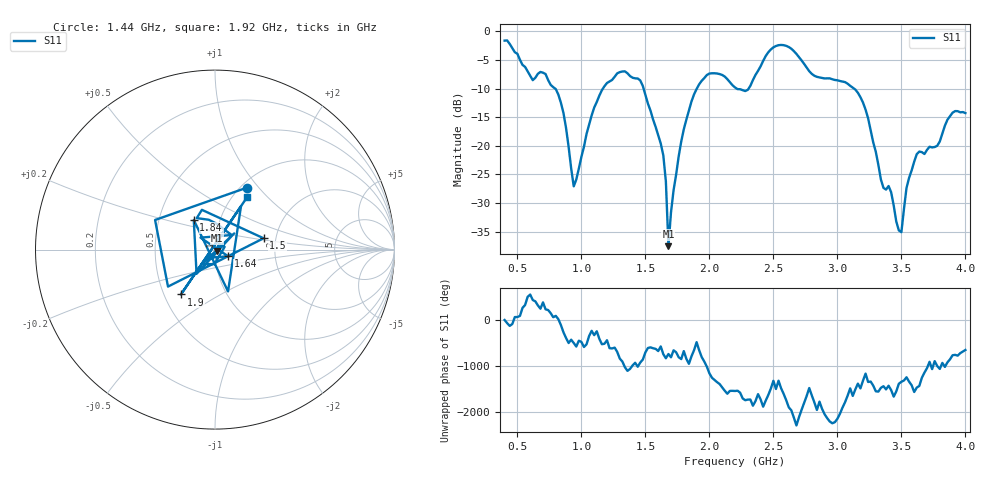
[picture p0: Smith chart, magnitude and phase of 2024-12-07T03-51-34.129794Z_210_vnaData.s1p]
!Created with skrf (http://scikit-rf.org).
# Hz S RI R 50.0
!freq ReS11 ImS11
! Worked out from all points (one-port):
!   181 points, 400 MHz to 4 GHz, reference 50 ohm
!   lowest |S11| = -37.5 dB at 1.68 GHz (marker M1), VSWR 1.03, Z = 51.2 - j0.524 ohm
!   |S11| at or under -10 dB: 794.9 MHz to 1.168 GHz (373.2 MHz wide, 38 % of centre); 1.486 GHz to 1.902 GHz (416 MHz wide, 24.6 % of centre); 3.13 GHz to end of sweep (the widest 3 of 4)
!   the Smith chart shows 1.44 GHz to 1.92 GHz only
!   S11 on the Smith chart (normalised r, x): 1.44 GHz: 1.07, +0.87; 1.5 GHz: 1.72, +0.24; 1.64 GHz: 1.16, -0.09; 1.84 GHz: 0.75, +0.26; 1.9 GHz: 0.61, -0.34; 1.92 GHz: 1.16, +0.78
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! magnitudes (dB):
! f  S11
! 400 MHz  -1.6
! 620 MHz  -8.5
! 720 MHz  -7.5
! 860 MHz  -14.3
! 940 MHz  -27.1
! 1.1 GHz  -13.3
! 1.3 GHz  -7.1
! 1.44 GHz  -8.2
! 1.5 GHz  -11.1
! 1.64 GHz  -21.7
! 1.66 GHz  -26.2
! 1.68 GHz  -37.5
! 1.76 GHz  -21.8
! 1.84 GHz  -13.8
! 1.9 GHz  -10.1
! 1.92 GHz  -9.2
! 2.2 GHz  -9.8
! 2.3 GHz  -10.2
! 2.5 GHz  -2.8
! 2.66 GHz  -3.5
! 3.1 GHz  -9.5
! 3.22 GHz  -13.7
! 3.34 GHz  -25.9
! 3.48 GHz  -34.8
! 3.5 GHz  -35.1
! 3.56 GHz  -25.6
! 3.9 GHz  -14.2
! 4 GHz  -14.3
